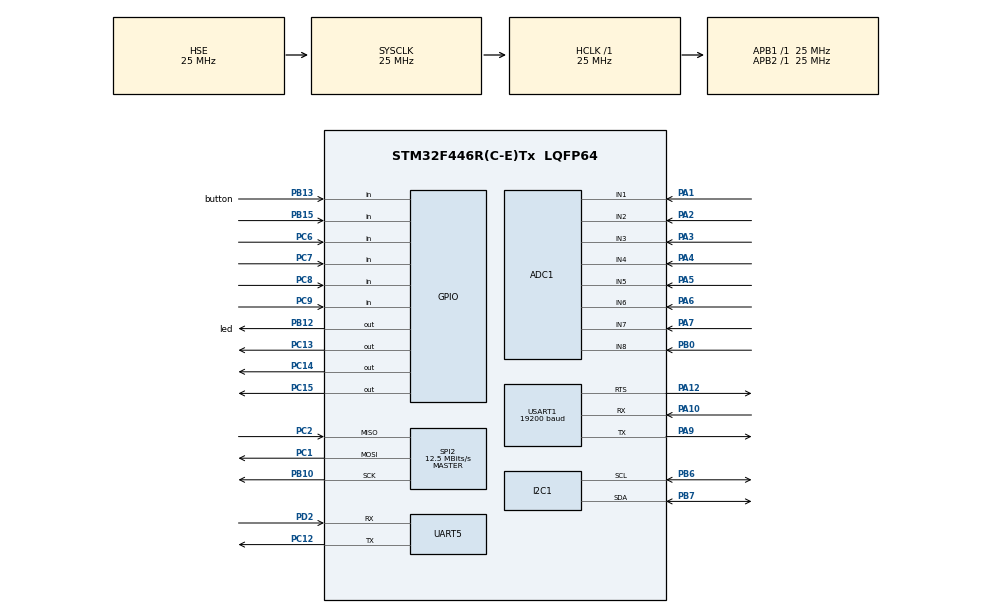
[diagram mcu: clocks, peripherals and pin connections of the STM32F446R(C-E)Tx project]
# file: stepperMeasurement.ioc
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ADC1.Channel-1\#ChannelRegularConversion=ADC_CHANNEL_1
ADC1.NbrOfConversionFlag=1
ADC1.Rank-1\#ChannelRegularConversion=1
ADC1.SamplingTime-1\#ChannelRegularConversion=ADC_SAMPLETIME_3CYCLES
ADC1.master=1
IWDG.Prescaler=IWDG_PRESCALER_128
IWDG.Reload=2500-1
Mcu.Family=STM32F4
Mcu.Name=STM32F446R(C-E)Tx
Mcu.Package=LQFP64
NVIC.PriorityGroup=NVIC_PRIORITYGROUP_4
NVIC.UART5_IRQn=true\:0\:0\:false\:false\:true\:true\:true\:true
NVIC.USART1_IRQn=true\:0\:0\:false\:false\:true\:true\:true\:true
PA1.Signal=ADCx_IN1
PA10.Mode=Asynchronous
PA10.Signal=USART1_RX
PA12.Mode=RTS_Only
PA12.Signal=USART1_RTS
PA13.Mode=Serial_Wire
PA13.Signal=SYS_JTMS-SWDIO
PA14.Mode=Serial_Wire
PA14.Signal=SYS_JTCK-SWCLK
PA2.Signal=ADCx_IN2
PA3.Signal=ADCx_IN3
PA4.Signal=ADCx_IN4
PA5.Signal=ADCx_IN5
PA6.Signal=ADCx_IN6
PA7.Signal=ADCx_IN7
PA9.Mode=Asynchronous
PA9.Signal=USART1_TX
PB0.Signal=ADCx_IN8
PB10.Mode=Full_Duplex_Master
PB10.Signal=SPI2_SCK
PB12.GPIO_Label=led
PB12.Signal=GPIO_Output
PB13.GPIO_Label=button
PB13.Signal=GPIO_Input
PB15.Signal=GPIO_Input
PB6.Mode=I2C
PB6.Signal=I2C1_SCL
PB7.Mode=I2C
PB7.Signal=I2C1_SDA
PC1.Mode=Full_Duplex_Master
PC1.Signal=SPI2_MOSI
PC12.Mode=Asynchronous
PC12.Signal=UART5_TX
PC13.Signal=GPIO_Output
PC14-OSC32_IN.Signal=GPIO_Output
PC15-OSC32_OUT.Signal=GPIO_Output
PC2.Mode=Full_Duplex_Master
PC2.Signal=SPI2_MISO
PC6.Signal=GPIO_Input
PC7.Signal=GPIO_Input
PC8.Signal=GPIO_Input
PC9.Signal=GPIO_Input
PD2.Mode=Asynchronous
PD2.Signal=UART5_RX
PH0-OSC_IN.Mode=HSE-External-Oscillator
PH0-OSC_IN.Signal=RCC_OSC_IN
PH1-OSC_OUT.Mode=HSE-External-Oscillator
PH1-OSC_OUT.Signal=RCC_OSC_OUT
ProjectManager.HeapSize=0x200
ProjectManager.StackSize=0x400
ProjectManager.TargetToolchain=STM32CubeIDE
RCC.AHBFreq_Value=25000000
RCC.APB1Freq_Value=25000000
RCC.APB1TimFreq_Value=25000000
RCC.APB2Freq_Value=25000000
RCC.APB2TimFreq_Value=25000000
RCC.CortexFreq_Value=25000000
RCC.HCLKFreq_Value=25000000
RCC.PLLSourceVirtual=RCC_PLLSOURCE_HSE
RCC.SYSCLKFreq_VALUE=25000000
RCC.SYSCLKSource=RCC_SYSCLKSOURCE_HSE
RCC.USBFreq_Value=150000000
RCC.VCOOutputFreq_Value=300000000
SH.ADCx_IN1.0=ADC1_IN1,IN1
SH.ADCx_IN2.0=ADC1_IN2,IN2
SH.ADCx_IN3.0=ADC1_IN3,IN3
SH.ADCx_IN4.0=ADC1_IN4,IN4
SH.ADCx_IN5.0=ADC1_IN5,IN5
SH.ADCx_IN6.0=ADC1_IN6,IN6
SH.ADCx_IN7.0=ADC1_IN7,IN7
SH.ADCx_IN8.0=ADC1_IN8,IN8
SPI2.CalculateBaudRate=12.5 MBits/s
SPI2.Direction=SPI_DIRECTION_2LINES
SPI2.Mode=SPI_MODE_MASTER
SPI2.VirtualType=VM_MASTER
UART5.VirtualMode=Asynchronous
USART1.BaudRate=19200
USART1.VirtualMode=VM_ASYNC
VP_CRC_VS_CRC.Mode=CRC_Activate
VP_IWDG_VS_IWDG.Mode=IWDG_Activate
VP_TIM3_VS_ClockSourceITR.Mode=TriggerSource_ITR0
board=custom

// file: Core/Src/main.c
/* USER CODE BEGIN Header */
/**
 ******************************************************************************
 * @file           : main.c
 * @brief          : Main program body
 ******************************************************************************
 * @attention
 *
 * Copyright (c) 2025 STMicroelectronics.
 * All rights reserved.
 *
 * This software is licensed under terms that can be found in the LICENSE file
 * in the root directory of this software component.
 * If no LICENSE file comes with this software, it is provided AS-IS.
 *
 ******************************************************************************
 */
/* USER CODE END Header */
#include "main.h"

/* USER CODE BEGIN Includes */
#include "common.h"
#include "modbus_slave.h"
#include "configuration.h"
#include "mb_upgrade.h"
#include "system_msp.h"
#include "control.h"
#include "flash_app.h"
/* USER CODE END Includes */

ADC_HandleTypeDef hadc1;

CRC_HandleTypeDef hcrc;

I2C_HandleTypeDef hi2c1;

IWDG_HandleTypeDef hiwdg;

SPI_HandleTypeDef hspi2;

TIM_HandleTypeDef htim3;

UART_HandleTypeDef huart5;
UART_HandleTypeDef huart1;

void SystemClock_Config(void);
static void MX_GPIO_Init(void);
static void MX_ADC1_Init(void);
static void MX_USART1_UART_Init(void);
static void MX_I2C1_Init(void);
static void MX_SPI2_Init(void);
static void MX_UART5_Init(void);
static void MX_CRC_Init(void);
static void MX_IWDG_Init(void);
static void MX_TIM3_Init(void);

/* USER CODE BEGIN 0 */
uint8_t rx_byte;
/* USER CODE END 0 */

int main(void)
{

  /* MCU Configuration--------------------------------------------------------*/

  /* Reset of all peripherals, Initializes the Flash interface and the Systick. */
  HAL_Init();

  /* USER CODE BEGIN Init */
  HAL_UART_Receive_IT(&huart1, &rx_byte, 1);
	HAL_GPIO_TogglePin(led_GPIO_Port, led_Pin);
	HAL_Delay(500);
  /* USER CODE END Init */

  /* Configure the system clock */
  SystemClock_Config();

  /* Initialize all configured peripherals */
  MX_GPIO_Init();
  MX_ADC1_Init();
  MX_USART1_UART_Init();
  MX_I2C1_Init();
  MX_SPI2_Init();
  MX_UART5_Init();
  MX_CRC_Init();
  MX_IWDG_Init();
  MX_TIM3_Init();
  /* USER CODE BEGIN 2 */
  HAL_UART_Receive_IT(&huart1, &rx_byte, 1);
  /* USER CODE END 2 */

  /* Infinite loop */
  /* USER CODE BEGIN WHILE */
	while (1) {

		HAL_GPIO_TogglePin(led_GPIO_Port, led_Pin);
		HAL_Delay(500);
    /* USER CODE END WHILE */

	}
}

void SystemClock_Config(void)
{
  RCC_OscInitTypeDef RCC_OscInitStruct = {0};
  RCC_ClkInitTypeDef RCC_ClkInitStruct = {0};

  /** Configure the main internal regulator output voltage
  */
  __HAL_RCC_PWR_CLK_ENABLE();
  __HAL_PWR_VOLTAGESCALING_CONFIG(PWR_REGULATOR_VOLTAGE_SCALE3);

  /** Initializes the RCC Oscillators according to the specified parameters
  * in the RCC_OscInitTypeDef structure.
  */
  RCC_OscInitStruct.OscillatorType = RCC_OSCILLATORTYPE_LSI|RCC_OSCILLATORTYPE_HSE;
  RCC_OscInitStruct.HSEState = RCC_HSE_ON;
  RCC_OscInitStruct.LSIState = RCC_LSI_ON;
  RCC_OscInitStruct.PLL.PLLState = RCC_PLL_NONE;
  if (HAL_RCC_OscConfig(&RCC_OscInitStruct) != HAL_OK)
  {
    Error_Handler();
  }

  /** Initializes the CPU, AHB and APB buses clocks
  */
  RCC_ClkInitStruct.ClockType = RCC_CLOCKTYPE_HCLK|RCC_CLOCKTYPE_SYSCLK
                              |RCC_CLOCKTYPE_PCLK1|RCC_CLOCKTYPE_PCLK2;
  RCC_ClkInitStruct.SYSCLKSource = RCC_SYSCLKSOURCE_HSE;
  RCC_ClkInitStruct.AHBCLKDivider = RCC_SYSCLK_DIV1;
  RCC_ClkInitStruct.APB1CLKDivider = RCC_HCLK_DIV1;
  RCC_ClkInitStruct.APB2CLKDivider = RCC_HCLK_DIV1;

  if (HAL_RCC_ClockConfig(&RCC_ClkInitStruct, FLASH_LATENCY_0) != HAL_OK)
  {
    Error_Handler();
  }
}

static void MX_ADC1_Init(void)
{

  ADC_ChannelConfTypeDef sConfig = {0};

  /** Configure the global features of the ADC (Clock, Resolution, Data Alignment and number of conversion)
  */
  hadc1.Instance = ADC1;
  hadc1.Init.ClockPrescaler = ADC_CLOCK_SYNC_PCLK_DIV2;
  hadc1.Init.Resolution = ADC_RESOLUTION_12B;
  hadc1.Init.ScanConvMode = DISABLE;
  hadc1.Init.ContinuousConvMode = DISABLE;
  hadc1.Init.DiscontinuousConvMode = DISABLE;
  hadc1.Init.ExternalTrigConvEdge = ADC_EXTERNALTRIGCONVEDGE_NONE;
  hadc1.Init.ExternalTrigConv = ADC_SOFTWARE_START;
  hadc1.Init.DataAlign = ADC_DATAALIGN_RIGHT;
  hadc1.Init.NbrOfConversion = 1;
  hadc1.Init.DMAContinuousRequests = DISABLE;
  hadc1.Init.EOCSelection = ADC_EOC_SINGLE_CONV;
  if (HAL_ADC_Init(&hadc1) != HAL_OK)
  {
    Error_Handler();
  }

  /** Configure for the selected ADC regular channel its corresponding rank in the sequencer and its sample time.
  */
  sConfig.Channel = ADC_CHANNEL_1;
  sConfig.Rank = 1;
  sConfig.SamplingTime = ADC_SAMPLETIME_3CYCLES;
  if (HAL_ADC_ConfigChannel(&hadc1, &sConfig) != HAL_OK)
  {
    Error_Handler();
  }

}

static void MX_CRC_Init(void)
{

  hcrc.Instance = CRC;
  if (HAL_CRC_Init(&hcrc) != HAL_OK)
  {
    Error_Handler();
  }

}

static void MX_I2C1_Init(void)
{

  hi2c1.Instance = I2C1;
  hi2c1.Init.ClockSpeed = 100000;
  hi2c1.Init.DutyCycle = I2C_DUTYCYCLE_2;
  hi2c1.Init.OwnAddress1 = 0;
  hi2c1.Init.AddressingMode = I2C_ADDRESSINGMODE_7BIT;
  hi2c1.Init.DualAddressMode = I2C_DUALADDRESS_DISABLE;
  hi2c1.Init.OwnAddress2 = 0;
  hi2c1.Init.GeneralCallMode = I2C_GENERALCALL_DISABLE;
  hi2c1.Init.NoStretchMode = I2C_NOSTRETCH_DISABLE;
  if (HAL_I2C_Init(&hi2c1) != HAL_OK)
  {
    Error_Handler();
  }

}

static void MX_IWDG_Init(void)
{

  hiwdg.Instance = IWDG;
  hiwdg.Init.Prescaler = IWDG_PRESCALER_128;
  hiwdg.Init.Reload = 2500-1;
  if (HAL_IWDG_Init(&hiwdg) != HAL_OK)
  {
    Error_Handler();
  }

}

static void MX_SPI2_Init(void)
{

  /* SPI2 parameter configuration*/
  hspi2.Instance = SPI2;
  hspi2.Init.Mode = SPI_MODE_MASTER;
  hspi2.Init.Direction = SPI_DIRECTION_2LINES;
  hspi2.Init.DataSize = SPI_DATASIZE_8BIT;
  hspi2.Init.CLKPolarity = SPI_POLARITY_LOW;
  hspi2.Init.CLKPhase = SPI_PHASE_1EDGE;
  hspi2.Init.NSS = SPI_NSS_SOFT;
  hspi2.Init.BaudRatePrescaler = SPI_BAUDRATEPRESCALER_2;
  hspi2.Init.FirstBit = SPI_FIRSTBIT_MSB;
  hspi2.Init.TIMode = SPI_TIMODE_DISABLE;
  hspi2.Init.CRCCalculation = SPI_CRCCALCULATION_DISABLE;
  hspi2.Init.CRCPolynomial = 10;
  if (HAL_SPI_Init(&hspi2) != HAL_OK)
  {
    Error_Handler();
  }

}

static void MX_TIM3_Init(void)
{

  TIM_SlaveConfigTypeDef sSlaveConfig = {0};
  TIM_MasterConfigTypeDef sMasterConfig = {0};

  htim3.Instance = TIM3;
  htim3.Init.Prescaler = 0;
  htim3.Init.CounterMode = TIM_COUNTERMODE_UP;
  htim3.Init.Period = 65535;
  htim3.Init.ClockDivision = TIM_CLOCKDIVISION_DIV1;
  htim3.Init.AutoReloadPreload = TIM_AUTORELOAD_PRELOAD_DISABLE;
  if (HAL_TIM_Base_Init(&htim3) != HAL_OK)
  {
    Error_Handler();
  }
  sSlaveConfig.SlaveMode = TIM_SLAVEMODE_DISABLE;
  sSlaveConfig.InputTrigger = TIM_TS_ITR0;
  if (HAL_TIM_SlaveConfigSynchro(&htim3, &sSlaveConfig) != HAL_OK)
  {
    Error_Handler();
  }
  sMasterConfig.MasterOutputTrigger = TIM_TRGO_RESET;
  sMasterConfig.MasterSlaveMode = TIM_MASTERSLAVEMODE_DISABLE;
  if (HAL_TIMEx_MasterConfigSynchronization(&htim3, &sMasterConfig) != HAL_OK)
  {
    Error_Handler();
  }

}

static void MX_UART5_Init(void)
{

  huart5.Instance = UART5;
  huart5.Init.BaudRate = 115200;
  huart5.Init.WordLength = UART_WORDLENGTH_8B;
  huart5.Init.StopBits = UART_STOPBITS_1;
  huart5.Init.Parity = UART_PARITY_NONE;
  huart5.Init.Mode = UART_MODE_TX_RX;
  huart5.Init.HwFlowCtl = UART_HWCONTROL_NONE;
  huart5.Init.OverSampling = UART_OVERSAMPLING_16;
  if (HAL_UART_Init(&huart5) != HAL_OK)
  {
    Error_Handler();
  }

}

static void MX_USART1_UART_Init(void)
{

  huart1.Instance = USART1;
  huart1.Init.BaudRate = 19200;
  huart1.Init.WordLength = UART_WORDLENGTH_8B;
  huart1.Init.StopBits = UART_STOPBITS_1;
  huart1.Init.Parity = UART_PARITY_NONE;
  huart1.Init.Mode = UART_MODE_TX_RX;
  huart1.Init.HwFlowCtl = UART_HWCONTROL_RTS;
  huart1.Init.OverSampling = UART_OVERSAMPLING_16;
  if (HAL_UART_Init(&huart1) != HAL_OK)
  {
    Error_Handler();
  }

}

static void MX_GPIO_Init(void)
{
  GPIO_InitTypeDef GPIO_InitStruct = {0};

  /* GPIO Ports Clock Enable */
  __HAL_RCC_GPIOC_CLK_ENABLE();
  __HAL_RCC_GPIOH_CLK_ENABLE();
  __HAL_RCC_GPIOA_CLK_ENABLE();
  __HAL_RCC_GPIOB_CLK_ENABLE();
  __HAL_RCC_GPIOD_CLK_ENABLE();

  /*Configure GPIO pin Output Level */
  HAL_GPIO_WritePin(GPIOC, GPIO_PIN_13|GPIO_PIN_14|GPIO_PIN_15, GPIO_PIN_RESET);

  /*Configure GPIO pin Output Level */
  HAL_GPIO_WritePin(led_GPIO_Port, led_Pin, GPIO_PIN_RESET);

  /*Configure GPIO pins : PC13 PC14 PC15 */
  GPIO_InitStruct.Pin = GPIO_PIN_13|GPIO_PIN_14|GPIO_PIN_15;
  GPIO_InitStruct.Mode = GPIO_MODE_OUTPUT_PP;
  GPIO_InitStruct.Pull = GPIO_NOPULL;
  GPIO_InitStruct.Speed = GPIO_SPEED_FREQ_LOW;
  HAL_GPIO_Init(GPIOC, &GPIO_InitStruct);

  /*Configure GPIO pin : led_Pin */
  GPIO_InitStruct.Pin = led_Pin;
  GPIO_InitStruct.Mode = GPIO_MODE_OUTPUT_PP;
  GPIO_InitStruct.Pull = GPIO_NOPULL;
  GPIO_InitStruct.Speed = GPIO_SPEED_FREQ_LOW;
  HAL_GPIO_Init(led_GPIO_Port, &GPIO_InitStruct);

  /*Configure GPIO pins : button_Pin PB15 */
  GPIO_InitStruct.Pin = button_Pin|GPIO_PIN_15;
  GPIO_InitStruct.Mode = GPIO_MODE_INPUT;
  GPIO_InitStruct.Pull = GPIO_NOPULL;
  HAL_GPIO_Init(GPIOB, &GPIO_InitStruct);

  /*Configure GPIO pins : PC6 PC7 PC8 PC9 */
  GPIO_InitStruct.Pin = GPIO_PIN_6|GPIO_PIN_7|GPIO_PIN_8|GPIO_PIN_9;
  GPIO_InitStruct.Mode = GPIO_MODE_INPUT;
  GPIO_InitStruct.Pull = GPIO_NOPULL;
  HAL_GPIO_Init(GPIOC, &GPIO_InitStruct);

}

/* USER CODE BEGIN 4 */
void HAL_UART_RxCpltCallback(UART_HandleTypeDef *huart)
{
  if (huart->Instance == USART1)
  {
    // Zde můžeš zpracovat přijatý bajt
   // HAL_GPIO_TogglePin(led_GPIO_Port, led_Pin); // např. bliknutí LED

    // Znovu spustit příjem
    HAL_UART_Receive_IT(&huart1, &rx_byte, 1);
  }
}

/* USER CODE END 4 */

void Error_Handler(void)
{
	__disable_irq();
	while (1) {
	}
}
